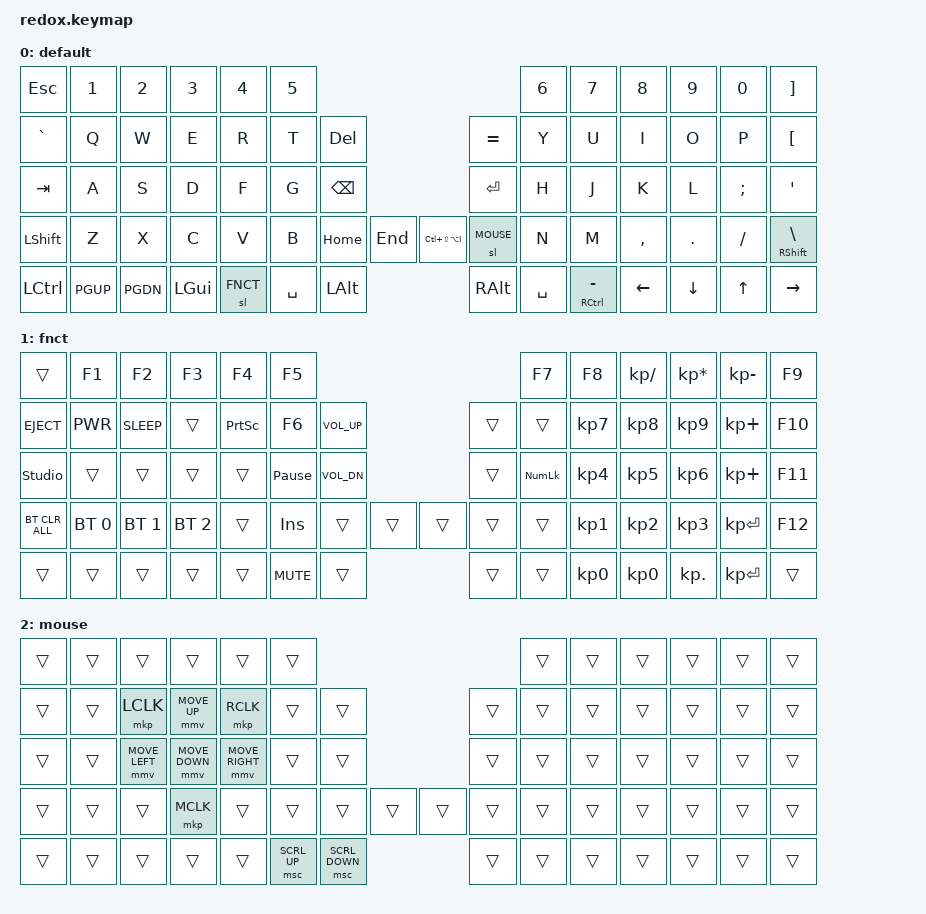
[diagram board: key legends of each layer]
/*
 * Copyright (c) 2021 The ZMK Contributors
 *
 * SPDX-License-Identifier: MIT
 */

#include <behaviors.dtsi>
#include <dt-bindings/zmk/keys.h>
#include <dt-bindings/zmk/bt.h>
#include <dt-bindings/zmk/pointing.h>
#include <dt-bindings/zmk/ext_power.h>
#include <dt-bindings/zmk/outputs.h>

#define DEFAULT 0
#define FNCT    1
#define MOUSE   2

&mt {
    tapping-term-ms = <140>;
};

/ {
    keymap {
        compatible =  "zmk,keymap" ;

        default {
// --------------------------------------------------------------------------------------------------------------------------------
// | ESC   |  1  |  2  |   3   |  4  |  5  |                   ---                |  6    |  7    |  8    |  9   | 0  |    BSPC   |
// | TAB   |  Q  |  W  |   E   |  R  |  T  |   (   |           ---        |  )    |  Y    |  U    |  I    |  O   | P  |     -     |
// | CTRL  |  A  |  S  |   D   |  F  |  G  |   [   |           ---        |  ]    |  H    |  J    |  K    |  L   | ;  |     '     |
// | SHIFT |  Z  |  X  |   C   |  V  |  B  | PG_UP | PG_DOWN | --- | HOME | END   |  N    |  M    |  ,    |  .   | /  | SHFT(RET) |
// | CRTL  | ALT | GUI | LOWER |    GUI    | LOWER | SPACE   | --- | DEL  | SPACE |     RAISE     | LEFT  | DOWN | UP |   RIGHT   |
            bindings = <
   &kp ESC   &kp N1   &kp N2   &kp N3 &kp N4   &kp N5                                                 &kp N6      &kp N7         &kp N8    &kp N9   &kp N0   &kp RBKT
   &kp GRAVE &kp Q    &kp W    &kp E  &kp R    &kp T  &kp DEL                               &kp EQUAL &kp Y       &kp U          &kp I     &kp O    &kp P    &kp LBKT
   &kp TAB   &kp A    &kp S    &kp D  &kp F    &kp G  &kp BSPC                              &kp RET   &kp H       &kp J          &kp K     &kp L    &kp SEMI &kp SQT
   &kp LSHFT &kp Z    &kp X    &kp C  &kp V    &kp B  &kp HOME  &kp END   &kp LC(LS(LA(I))) &sl MOUSE &kp N       &kp M          &kp COMMA &kp DOT  &kp FSLH &mt RSHFT BSLH
   &kp LCTRL &kp PGUP &kp PGDN &kp LGUI   &sl FNCT    &kp SPACE &kp LALT  &kp RALT          &kp SPACE       &mt RCTRL MINUS      &kp LEFT  &kp DOWN &kp UP   &kp RIGHT
            >;

        };

        fnct {
// --------------------------------------------------------------------------------------------------------------------------
// | ESC   |  1  |  2  |   3   |   4   |  5  |                   ---              |  6  |  7  |   8  |  9   |  0  |  DEL  |
// | ESC   |  1  |  2  |   3   |   4   |  5  |   (   |           ---        |  )  |  6  |  7  |   8  |  9   |  0  |  DEL  |
// | CTRL  |  -  |  =  |   [   |   ]   |  \  |   [   |           ---        |  ]  |  *  |  4  |   5  |  6   |  +  |   -   |
// | SHIFT | ESC | GUI | COPY  | PASTE |     | PG_UP | PG_DOWN | --- | HOME | END |  \  |  1  |   2  |  3   | RET |  RET  |
// | CRTL  | ALT | GUI | LOWER |     GUI     | LOWER | SPACE   | --- | DEL  |  0  |    RAISE  | LEFT | DOWN | UP  | RIGHT |
            bindings = <
   &trans         &kp F1       &kp F2       &kp F3        &kp F4         &kp F5                                                               &kp F7      &kp F8    &kp KP_DIVIDE &kp KP_MULTIPLY &kp KP_MINUS &kp F9
   &kp C_EJECT    &kp C_PWR    &kp C_SLEEP  &trans        &kp PSCRN      &kp F6           &kp C_VOL_UP                              &trans    &trans      &kp KP_N7 &kp KP_N8     &kp KP_N9       &kp KP_PLUS  &kp F10
   &studio_unlock &trans       &trans       &trans        &trans         &kp PAUSE_BREAK  &kp C_VOL_DN                              &trans    &kp KP_NLCK &kp KP_N4 &kp KP_N5     &kp KP_N6       &kp KP_PLUS  &kp F11
   &bt BT_CLR_ALL &bt BT_SEL 0 &bt BT_SEL 1 &bt BT_SEL 2  &trans         &kp INS          &trans        &trans              &trans  &trans    &trans      &kp KP_N1 &kp KP_N2     &kp KP_N3       &kp KP_ENTER &kp F12
   &trans         &trans       &trans       &trans                    &trans              &kp C_MUTE    &trans              &trans  &trans        &kp KP_N0         &kp KP_N0     &kp KP_DOT      &kp KP_ENTER &trans
            >;
        };

        mouse {
// ----------------------------------------------------------------------------------------------------------------------------
// | ESC   |  1  |  2  |   3   |  4  |  5  |                   ---                |  6   |  7   |  8   |  9   |  0    |  DEL  |
// | ESC   |  !  |  @  |   #   |  $  |  %  |   (   |           ---        |  )    |  ^   |  &   |  *   |  (   |  )    |  DEL  |
// | CTRL  |  _  |  +  |   {   |  }  | "|" |   [   |           ---        |  ]    | HOME | PGUP | PRSC | UP   |  `    |   ~   |
// | SHIFT | ESC | GUI |   (   |  )  |     | PG_UP | PG_DOWN | --- | HOME | END   | END  | PGDN | LEFT | DOWN | RIGHT |  RET  |
// | CRTL  | ALT | GUI | LOWER |    GUI    | LOWER | SPACE   | --- | DEL  | SPACE |    RAISE    | LEFT | DOWN | UP    | RIGHT |
            bindings = <
   &trans  &trans    &trans         &trans          &trans          &trans                                              &trans    &trans    &trans    &trans   &trans    &trans
   &trans  &trans    &mkp LCLK      &mmv MOVE_UP    &mkp RCLK       &trans    &trans                             &trans &trans    &trans    &trans    &trans   &trans    &trans
   &trans  &trans    &mmv MOVE_LEFT &mmv MOVE_DOWN  &mmv MOVE_RIGHT &trans    &trans                             &trans &trans    &trans    &trans    &trans   &trans    &trans
   &trans  &trans    &trans         &mkp MCLK       &trans          &trans    &trans       &trans         &trans &trans &trans    &trans    &trans    &trans   &trans    &trans
   &trans  &trans    &trans         &trans                 &trans             &msc SCRL_UP &msc SCRL_DOWN &trans &trans        &trans       &trans    &trans   &trans    &trans
            >;
        };
    };
};
